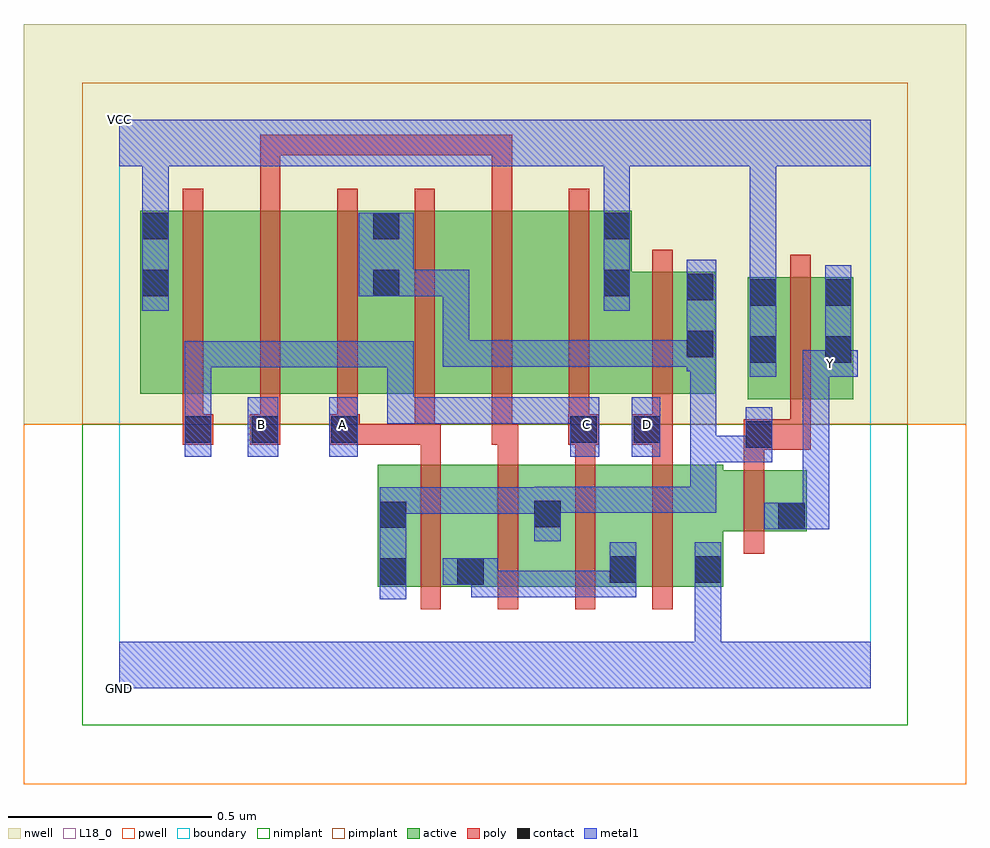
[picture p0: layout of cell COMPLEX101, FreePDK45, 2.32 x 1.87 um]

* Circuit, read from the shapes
.subckt COMPLEX101 A B C D GND VCC Y
M1 n1 A n2 VSUBS nfet w=0.3u l=0.05u
M2 n2 B n1 VSUBS nfet w=0.3u l=0.05u
M3 n1 C n2 VSUBS nfet w=0.3u l=0.05u
M4 GND D n1 VSUBS nfet w=0.3u l=0.05u
M5 Y n2 GND VSUBS nfet w=0.15u l=0.05u
M6 n3 C VCC n4 pfet w=0.45u l=0.05u
M7 n5 B n3 n4 pfet w=0.45u l=0.05u
M8 n2 A n5 n4 pfet w=0.45u l=0.05u
M9 n6 A n2 n4 pfet w=0.45u l=0.05u
M10 n7 B n6 n4 pfet w=0.45u l=0.05u
M11 VCC C n7 n4 pfet w=0.45u l=0.05u
M12 n2 D VCC n4 pfet w=0.3u l=0.05u
M13 Y n2 VCC n4 pfet w=0.3u l=0.05u
.ends

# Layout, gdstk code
import gdstk
lib = gdstk.Library(unit=1e-6, precision=1e-09)
def R(c, l, rs):  # rectangles x0, y0, x1, y1
    for r in rs: c.add(gdstk.rectangle(r[:2], r[2:], *l))
def A(c, l, x, y, w, h, nx, ny, dx, dy):  # array of equal rectangles
    R(c, l, [(x+i*dx, y+j*dy, x+i*dx+w, y+j*dy+h) for i in range(nx) for j in range(ny)])
active = (1, 0)
pwell = (2, 0)
nwell = (3, 0)
nimplant = (4, 0)
pimplant = (5, 0)
poly = (9, 0)
contact = (10, 0)
metal1 = (11, 0)
L18_0 = (18, 0)
boundary = (235, 0)

complex101 = lib.new_cell('COMPLEX101')
R(complex101, active, [(0.637,0.25,0.902,0.55), (0.637,0.25,0.712,0.55), (0.827,0.25,1.092,0.55), (0.827,0.25,0.902,0.392), (1.017,0.25,1.277,0.55), (1.202,0.25,1.487,0.55), (1.202,0.25,1.277,0.547), (1.412,0.25,1.487,0.537), (1.017,0.295,1.092,0.467), (1.412,0.387,1.692,0.537), (1.617,0.387,1.692,0.537), (1.547,0.712,1.807,1.012), (1.547,0.712,1.622,1.012), (1.732,0.712,1.807,1.012), (0.052,0.725,0.127,1.175), (0.052,0.725,0.277,1.175), (0.277,0.725,0.467,1.175), (0.467,0.725,0.695,1.175), (0.62,0.725,0.847,1.175), (0.847,0.725,1.037,1.175), (1.037,0.725,1.262,1.175), (1.187,0.725,1.467,1.025), (1.187,0.725,1.262,1.175), (1.392,0.725,1.467,1.025), (0.62,0.732,0.695,1.175)])
R(complex101, pwell, [(-0.235,-0.235,2.085,0.65)])
R(complex101, nwell, [(-0.235,0.65,2.085,1.635)])
R(complex101, nimplant, [(-0.09,-0.09,1.94,0.65)])
R(complex101, pimplant, [(-0.09,0.65,1.94,1.49)])
A(complex101, poly, 0.742, 0.195, 0.05, 0.41, 4, 1, 0.19, 0)
A(complex101, poly, 0.742, 0.555, 0.05, 0.095, 4, 1, 0.19, 0)
A(complex101, poly, 0.157, 0.625, 0.05, 0.095, 3, 1, 0.19, 0)
A(complex101, poly, 0.157, 0.67, 0.05, 0.56, 6, 1, 0.19, 0)
R(complex101, poly, [(1.537,0.332,1.587,0.592), (1.537,0.542,1.587,0.637), (1.537,0.587,1.702,0.662), (0.157,0.6,0.232,0.675), (0.322,0.6,0.397,0.675), (0.517,0.6,0.592,0.675), (0.542,0.6,0.777,0.65), (0.727,0.6,0.777,0.65), (0.727,0.6,0.777,0.65), (0.727,0.6,0.777,0.72), (0.727,0.6,0.792,0.65), (0.917,0.6,0.967,0.72), (0.917,0.6,0.982,0.65), (1.105,0.6,1.18,0.675), (1.262,0.6,1.362,0.675), (1.652,0.612,1.702,0.707), (1.107,0.625,1.157,0.72), (1.312,0.625,1.362,0.72), (1.652,0.657,1.702,1.067), (1.312,0.67,1.362,1.08), (0.347,1.18,0.397,1.362), (0.917,1.18,0.967,1.362), (0.347,1.312,0.397,1.362), (0.347,1.312,0.397,1.362), (0.347,1.312,0.397,1.362), (0.347,1.312,0.645,1.362), (0.595,1.312,0.645,1.362), (0.595,1.312,0.645,1.362), (0.595,1.312,0.645,1.362), (0.595,1.312,0.835,1.362), (0.785,1.312,0.835,1.362), (0.785,1.312,0.967,1.362), (0.917,1.312,0.967,1.362), (0.917,1.312,0.967,1.362), (0.917,1.312,0.967,1.362)])
R(complex101, contact, [(0.642,0.255,0.707,0.32), (0.832,0.255,0.897,0.32), (1.207,0.26,1.272,0.325), (1.417,0.26,1.482,0.325), (1.622,0.392,1.687,0.457), (0.642,0.395,0.707,0.46), (1.022,0.397,1.087,0.462), (1.542,0.592,1.607,0.657), (0.162,0.605,0.227,0.67), (0.327,0.605,0.392,0.67), (0.522,0.605,0.587,0.67), (1.11,0.605,1.175,0.67), (1.267,0.605,1.332,0.67), (1.552,0.802,1.617,0.867), (1.737,0.802,1.802,0.867), (1.397,0.815,1.462,0.88), (1.552,0.942,1.617,1.007), (1.737,0.942,1.802,1.007), (1.397,0.955,1.462,1.02), (0.057,0.965,0.122,1.03), (0.625,0.965,0.69,1.03), (1.192,0.965,1.257,1.03), (0.057,1.105,0.122,1.17), (0.625,1.105,0.69,1.17), (1.192,1.105,1.257,1.17)])
R(complex101, metal1, [(0,0,1.85,0.115), (1.417,0.05,1.482,0.29), (0.642,0.22,0.707,0.495), (0.867,0.225,1.07,0.29), (0.867,0.225,0.932,0.32), (1.005,0.225,1.07,0.29), (1.005,0.225,1.07,0.29), (1.005,0.225,1.07,0.29), (1.005,0.225,1.272,0.29), (1.207,0.225,1.272,0.36), (1.417,0.225,1.482,0.29), (1.417,0.225,1.482,0.29), (1.417,0.225,1.482,0.29), (1.417,0.225,1.482,0.29), (1.417,0.225,1.482,0.36), (0.797,0.255,0.932,0.32), (0.867,0.255,0.932,0.32), (1.022,0.362,1.087,0.497), (1.587,0.392,1.747,0.457), (1.682,0.392,1.747,0.832), (0.642,0.43,0.725,0.495), (0.66,0.43,0.725,0.495), (0.66,0.43,0.932,0.495), (0.867,0.43,0.932,0.495), (0.867,0.43,0.932,0.495), (0.867,0.43,0.932,0.495), (0.867,0.43,1.087,0.495), (1.022,0.432,1.087,0.497), (1.022,0.432,1.087,0.497), (1.022,0.432,1.225,0.497), (1.16,0.432,1.225,0.497), (1.16,0.432,1.225,0.497), (1.16,0.432,1.225,0.497), (1.16,0.432,1.47,0.497), (1.405,0.432,1.47,0.497), (1.405,0.432,1.47,0.622), (1.405,0.557,1.47,0.622), (1.405,0.557,1.47,0.622), (1.405,0.557,1.47,0.622), (1.405,0.557,1.607,0.622), (1.405,0.557,1.47,0.845), (1.542,0.557,1.607,0.692), (0.162,0.57,0.227,0.705), (0.317,0.57,0.392,0.717), (0.517,0.57,0.587,0.717), (1.11,0.57,1.182,0.717), (1.262,0.57,1.332,0.717), (0.162,0.64,0.227,0.705), (0.162,0.64,0.227,0.705), (0.162,0.64,0.227,0.855), (0.66,0.652,0.725,0.717), (0.66,0.652,0.725,0.717), (0.66,0.652,0.725,0.717), (0.66,0.652,0.862,0.717), (0.66,0.652,0.725,0.855), (0.797,0.652,0.862,0.717), (0.797,0.652,0.862,0.717), (0.797,0.652,0.862,0.717), (0.797,0.652,1.07,0.717), (1.005,0.652,1.07,0.717), (1.005,0.652,1.175,0.717), (1.552,0.767,1.617,1.042), (1.682,0.767,1.817,0.832), (1.737,0.767,1.802,0.832), (1.737,0.767,1.802,1.042), (1.397,0.78,1.47,1.055), (0.162,0.79,0.227,0.855), (0.162,0.79,0.38,0.855), (0.315,0.79,0.38,0.855), (0.315,0.79,0.517,0.855), (0.452,0.79,0.517,0.855), (0.452,0.79,0.517,0.855), (0.452,0.79,0.517,0.855), (0.452,0.79,0.725,0.855), (0.66,0.79,0.725,0.855), (0.797,0.792,0.862,0.857), (0.797,0.792,0.862,0.857), (0.797,0.792,0.862,0.857), (0.797,0.792,1.07,0.857), (0.797,0.792,0.862,1.03), (1.005,0.792,1.07,0.857), (1.005,0.792,1.087,0.857), (1.022,0.792,1.087,0.857), (1.022,0.792,1.225,0.857), (1.16,0.792,1.225,0.857), (1.16,0.792,1.225,0.857), (1.16,0.792,1.225,0.857), (1.16,0.792,1.462,0.857), (0.057,0.93,0.122,1.205), (1.192,0.93,1.257,1.205), (0.59,0.965,0.725,1.17), (0.66,0.965,0.725,1.03), (0.66,0.965,0.725,1.03), (0.66,0.965,0.862,1.03), (0.797,0.965,0.862,1.03), (1.552,0.977,1.617,1.35), (0.057,1.14,0.122,1.35), (1.192,1.14,1.257,1.205), (1.192,1.14,1.257,1.205), (1.192,1.14,1.257,1.35), (0,1.285,1.85,1.4), (0.057,1.285,0.122,1.35), (0.057,1.285,0.122,1.35), (1.552,1.285,1.617,1.35), (1.552,1.285,1.617,1.35), (1.552,1.285,1.617,1.35), (1.552,1.285,1.617,1.35)])
R(complex101, L18_0, [(0,0,1.85,0.115), (1.417,0.05,1.482,0.29), (1.417,0.225,1.482,0.29), (1.417,0.225,1.482,0.29), (1.417,0.225,1.482,0.29), (1.417,0.225,1.482,0.29), (1.417,0.225,1.482,0.36), (1.587,0.392,1.747,0.457), (1.682,0.392,1.747,0.832), (0.162,0.57,0.227,0.705), (0.317,0.57,0.392,0.717), (0.517,0.57,0.587,0.717), (1.11,0.57,1.182,0.717), (1.262,0.57,1.332,0.717), (0.317,0.617,0.382,0.682), (0.517,0.617,0.582,0.682), (1.117,0.617,1.182,0.682), (1.267,0.617,1.332,0.682), (0.162,0.64,0.227,0.705), (0.162,0.64,0.227,0.705), (0.162,0.64,0.227,0.855), (0.66,0.652,0.725,0.717), (0.66,0.652,0.725,0.717), (0.66,0.652,0.725,0.717), (0.66,0.652,0.862,0.717), (0.66,0.652,0.725,0.855), (0.797,0.652,0.862,0.717), (0.797,0.652,0.862,0.717), (0.797,0.652,0.862,0.717), (0.797,0.652,1.07,0.717), (1.005,0.652,1.07,0.717), (1.005,0.652,1.175,0.717), (1.552,0.767,1.617,1.042), (1.682,0.767,1.817,0.832), (1.717,0.767,1.782,0.832), (1.737,0.767,1.802,1.042), (1.737,0.767,1.802,0.832), (0.162,0.79,0.227,0.855), (0.162,0.79,0.38,0.855), (0.315,0.79,0.38,0.855), (0.315,0.79,0.517,0.855), (0.452,0.79,0.517,0.855), (0.452,0.79,0.517,0.855), (0.452,0.79,0.517,0.855), (0.452,0.79,0.725,0.855), (0.66,0.79,0.725,0.855), (0.057,0.93,0.122,1.205), (1.192,0.93,1.257,1.205), (1.552,0.977,1.617,1.35), (0.057,1.14,0.122,1.35), (1.192,1.14,1.257,1.205), (1.192,1.14,1.257,1.205), (1.192,1.14,1.257,1.35), (0,1.285,1.85,1.4), (0.057,1.285,0.122,1.35), (0.057,1.285,0.122,1.35), (1.552,1.285,1.617,1.35), (1.552,1.285,1.617,1.35), (1.552,1.285,1.617,1.35), (1.552,1.285,1.617,1.35)])
R(complex101, boundary, [(0,0,1.85,1.4)])
complex101.add(gdstk.Label('A', (0.55,0.65), layer=11, texttype=0))
complex101.add(gdstk.Label('B', (0.35,0.65), layer=11, texttype=0))
complex101.add(gdstk.Label('C', (1.15,0.65), layer=11, texttype=0))
complex101.add(gdstk.Label('D', (1.3,0.65), layer=11, texttype=0))
complex101.add(gdstk.Label('Y', (1.75,0.8), layer=11, texttype=0))
complex101.add(gdstk.Label('VCC', (0,1.4), layer=11, texttype=0))
complex101.add(gdstk.Label('GND', (0,0), layer=11, texttype=0))

lib.write_gds('COMPLEX101.gds')
